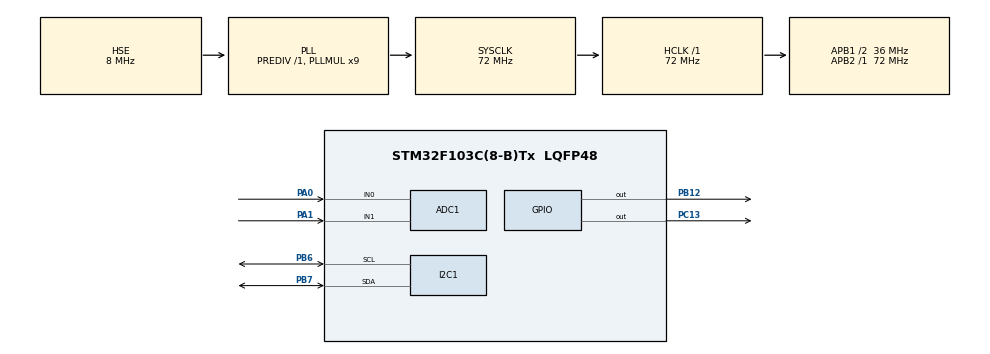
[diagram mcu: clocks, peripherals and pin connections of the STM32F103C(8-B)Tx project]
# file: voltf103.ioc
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ADC1.Channel-2\#ChannelRegularConversion=ADC_CHANNEL_0
ADC1.Channel-4\#ChannelRegularConversion=ADC_CHANNEL_1
ADC1.ExternalTrigConv=ADC_SOFTWARE_START
ADC1.NbrOfConversion=2
ADC1.NbrOfConversionFlag=1
ADC1.Rank-2\#ChannelRegularConversion=1
ADC1.Rank-4\#ChannelRegularConversion=2
ADC1.SamplingTime-2\#ChannelRegularConversion=ADC_SAMPLETIME_1CYCLE_5
ADC1.SamplingTime-4\#ChannelRegularConversion=ADC_SAMPLETIME_1CYCLE_5
ADC1.master=1
Dma.ADC1.0.Direction=DMA_PERIPH_TO_MEMORY
Dma.ADC1.0.Instance=DMA1_Channel1
Dma.ADC1.0.MemDataAlignment=DMA_MDATAALIGN_HALFWORD
Dma.ADC1.0.MemInc=DMA_MINC_ENABLE
Dma.ADC1.0.Mode=DMA_NORMAL
Dma.ADC1.0.PeriphDataAlignment=DMA_PDATAALIGN_HALFWORD
Dma.ADC1.0.PeriphInc=DMA_PINC_DISABLE
Dma.ADC1.0.Priority=DMA_PRIORITY_LOW
Dma.Request0=ADC1
I2C1.I2C_Mode=I2C_Fast
Mcu.Family=STM32F1
Mcu.Name=STM32F103C(8-B)Tx
Mcu.Package=LQFP48
NVIC.DMA1_Channel1_IRQn=true\:0\:0\:false\:false\:true\:false\:true
NVIC.PriorityGroup=NVIC_PRIORITYGROUP_4
PA0-WKUP.Signal=ADCx_IN0
PA1.Signal=ADCx_IN1
PA13.Mode=Serial_Wire
PA13.Signal=SYS_JTMS-SWDIO
PA14.Mode=Serial_Wire
PA14.Signal=SYS_JTCK-SWCLK
PB12.GPIO_PuPd=GPIO_NOPULL
PB12.PinState=GPIO_PIN_SET
PB12.Signal=GPIO_Output
PB6.Mode=I2C
PB6.Signal=I2C1_SCL
PB7.Mode=I2C
PB7.Signal=I2C1_SDA
PC13-TAMPER-RTC.PinState=GPIO_PIN_RESET
PC13-TAMPER-RTC.Signal=GPIO_Output
PD0-OSC_IN.Mode=HSE-External-Oscillator
PD0-OSC_IN.Signal=RCC_OSC_IN
PD1-OSC_OUT.Mode=HSE-External-Oscillator
PD1-OSC_OUT.Signal=RCC_OSC_OUT
ProjectManager.HeapSize=0x200
ProjectManager.StackSize=0x400
ProjectManager.TargetToolchain=STM32CubeIDE
RCC.ADCPresc=RCC_ADCPCLK2_DIV6
RCC.AHBFreq_Value=72000000
RCC.APB1CLKDivider=RCC_HCLK_DIV2
RCC.APB1Freq_Value=36000000
RCC.APB1TimFreq_Value=72000000
RCC.APB2Freq_Value=72000000
RCC.APB2TimFreq_Value=72000000
RCC.HCLKFreq_Value=72000000
RCC.PLLMUL=RCC_PLL_MUL9
RCC.PLLSourceVirtual=RCC_PLLSOURCE_HSE
RCC.SYSCLKFreq_VALUE=72000000
RCC.SYSCLKSource=RCC_SYSCLKSOURCE_PLLCLK
RCC.USBFreq_Value=72000000
SH.ADCx_IN0.0=ADC1_IN0,IN0
SH.ADCx_IN1.0=ADC1_IN1,IN1
board=custom

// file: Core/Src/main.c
/* USER CODE BEGIN Header */
/**
  ******************************************************************************
  * @file           : main.c
  * @brief          : Main program body
  ******************************************************************************
  * @attention
  *
  * <h2><center>&copy; Copyright (c) 2023 STMicroelectronics.
  * All rights reserved.</center></h2>
  *
  * This software component is licensed by ST under BSD 3-Clause license,
  * the "License"; You may not use this file except in compliance with the
  * License. You may obtain a copy of the License at:
  *                        opensource.org/licenses/BSD-3-Clause
  *
  ******************************************************************************
  */
/* USER CODE END Header */

#include "main.h"

/* USER CODE BEGIN Includes */
#include "fonts.h"
#include "ssd1306.h"
#include <stdio.h>

/* USER CODE END Includes */

ADC_HandleTypeDef hadc1;
DMA_HandleTypeDef hdma_adc1;

I2C_HandleTypeDef hi2c1;

void SystemClock_Config(void);
static void MX_GPIO_Init(void);
static void MX_DMA_Init(void);
static void MX_I2C1_Init(void);
static void MX_ADC1_Init(void);

/* USER CODE BEGIN 0 */
volatile uint16_t voltage[2] = {4018, 4017};
volatile uint8_t flag = 0;
float koef[2] = {0.003928, 0.003969};
uint8_t count = 0;

/*void us100Delay(msec)
{
	__HAL_TIM_SET_COUNTER(&htim2, 0);
	  while(__HAL_TIM_GET_COUNTER(&htim2) < msec);
}
*/
void displayvolt(float akbvoltage, float mainvoltage, uint8_t cflag)
{

	char str[20];
	sprintf (str,"bat. %1.2f V", akbvoltage);
	SSD1306_Fill(0);
	SSD1306_GotoXY(0,12);
	SSD1306_Puts(str, &Font_7x10, 1);
	SSD1306_DrawRectangle(4, 30, 110, 33, 1);
	SSD1306_DrawFilledRectangle(114, 41, 5, 11, 1);
	if (akbvoltage > 12.6f)
	{
		// 3212 3175
		SSD1306_DrawFilledRectangle(6, 32, 25, 29, 1);
	}

	if (akbvoltage > 13.05f)
	{
		SSD1306_DrawFilledRectangle(33, 32, 25, 29, 1);
	}
	if (akbvoltage > 13.5f)
	{
		SSD1306_DrawFilledRectangle(60, 32, 25, 29, 1);
	}
	if (akbvoltage > 13.95f)
	{
		SSD1306_DrawFilledRectangle(87, 32, 25, 29, 1);
	}
	if (cflag == 1)
	{
		SSD1306_DrawLine(125, 2, 110, 12, 1);
		SSD1306_DrawLine(125, 12, 110, 12, 1);
		SSD1306_DrawLine(125, 12, 110, 22, 1);
	}
	else
	{
		SSD1306_GotoXY(85, 5);
		//sprintf(str, "main %1.1f V", mainvoltage);
		SSD1306_Puts("UPS", &Font_11x18, 1);
	}
	sprintf(str, "main %1.2f V", mainvoltage);
	SSD1306_GotoXY(0,0);
	SSD1306_Puts(str, &Font_7x10, 1);

    SSD1306_UpdateScreen();

    // 15 20 125 2, 125 22, 110 22, 110 2 12
}
// main 382
// akb

uint8_t UPS(uint8_t cflag, float Volt0, float Volt1)
{
	if(cflag == 1)
	{
		if(Volt1 < 13.5f )
			count++;
		else
		{
			count = 0;
			return 1;
		}

		if (count > 3)
		{
			count = 0;
			return 0;
		}
	}
	if(cflag == 0)
		{
			if(Volt1 > 13.5f )
				count++;
			else
			{
				count = 0;
				return 0;
			}

			if (count > 3)
			{
				count = 0;
				return 1;
			}
		}

}

/*uint8_t PowerOn(float Volt1)
{

	if(Volt1 >= 14.0f )
		count++;
	else
	{
		count = 0;
		return 0;
	}

	if (count > 9)
	{
		count = 0;
		return 1;
	}

}*/
/* USER CODE END 0 */

int main(void)
{

  /* MCU Configuration--------------------------------------------------------*/

  /* Reset of all peripherals, Initializes the Flash interface and the Systick. */
  HAL_Init();

  /* Configure the system clock */
  SystemClock_Config();

  /* Initialize all configured peripherals */
  MX_GPIO_Init();
  MX_DMA_Init();
  MX_I2C1_Init();
  MX_ADC1_Init();
  /* USER CODE BEGIN 2 */
  SSD1306_Init();
  //HAL_TIM_Base_Start(&htim2);
  HAL_ADCEx_Calibration_Start(&hadc1);
   HAL_ADC_Start_DMA(&hadc1, (uint32_t*)&voltage, 2);
  /* USER CODE END 2 */

  /* Infinite loop */
  /* USER CODE BEGIN WHILE */
   float 		ON, OFF, Save;

   ON = 13.4f;
   OFF = 14.3f;
   Save = 12.1f;
   HAL_GPIO_WritePin(GPIOB, GPIO_PIN_12, GPIO_PIN_RESET);
 //  HAL_GPIO_WritePin(GPIOB, GPIO_PIN_13, GPIO_PIN_SET);
   uint8_t displayflag = 0,
		   chargeflag = 0,
		   //UPC = 0,
   	   	   AkOn = 0,
   	       AkOff = 0,
		   AkSave = 0;
   float voltf[2] = {0.0f};

  while (1)
  {

	  	  if(flag)
	  	  {

	  		  flag = 0;

			  HAL_ADC_Stop_DMA(&hadc1);

			  voltf[0] = voltage[0] * koef[0];
			  voltf[1] = voltage[1] * koef[1];

			  chargeflag = UPS(chargeflag, voltf[0], voltf[1]);

			  if(chargeflag == 0)
			  {
				  if (voltf[0] > Save)
				  {
					  HAL_GPIO_WritePin(GPIOB, GPIO_PIN_12, GPIO_PIN_SET);
					  AkSave = 0;
				  }
	/*			  if(voltf[1] >= 14.0f )
					  count++;
				  else
				  {
					  count = 0;
				  }

				  if (count > 9)
				  {
					  count = 0;
					  chargeflag = 1;
				  }*/
				  else
				  {
				  	  AkSave++;
				  }
				  if(AkSave > 8)
				  {
					  HAL_GPIO_WritePin(GPIOB, GPIO_PIN_12, GPIO_PIN_RESET);
					 AkSave = 10;
				  }

			  }
			  if (chargeflag == 1)
			  {
				  /*if(voltf[0] > voltf[1] - 1.1f || voltf[1] - volt1buff > 0.7f)
						  count++;
					  	  else
					  	  {
						  count = 0;

					  }

					  if (count > 3)
					  {
						  count = 0;
						  chargeflag = 0;
						  HAL_GPIO_WritePin(GPIOB, GPIO_PIN_12, GPIO_PIN_SET);

					  }*/

					  if(voltf[0] > OFF && voltf[1] > 14.5f)
						  AkOff++;
					  else
						  AkOff = 0;

					  if(voltf[0] < ON)
						  AkOn++;
					  else
						  AkOn = 0;

				  if(AkOn > 49)
				  {
					  HAL_GPIO_WritePin(GPIOB, GPIO_PIN_12, GPIO_PIN_SET);
					  AkOn = 0;
				  }

				  if(AkOff > 49)
				  {
					  HAL_GPIO_WritePin(GPIOB, GPIO_PIN_12, GPIO_PIN_RESET);
					  AkOff = 0;
				  }

			  }
			  if(displayflag > 9)
			  {
				  displayvolt(voltf[0], voltf[1], chargeflag);
				  displayflag = 0;
			  }
				  //something code

			  voltage[0] = 0;
	  		  voltage[1] = 0;
	  		  voltf[0] = 0;
	  		  voltf[1] = 0;
	  		  displayflag++;
			  HAL_ADC_Start_DMA(&hadc1, (uint32_t*)&voltage, 2);

			  HAL_Delay(50);

	  	  }

    /* USER CODE END WHILE */

  }
}

void SystemClock_Config(void)
{
  RCC_OscInitTypeDef RCC_OscInitStruct = {0};
  RCC_ClkInitTypeDef RCC_ClkInitStruct = {0};
  RCC_PeriphCLKInitTypeDef PeriphClkInit = {0};

  /** Initializes the CPU, AHB and APB busses clocks
  */
  RCC_OscInitStruct.OscillatorType = RCC_OSCILLATORTYPE_HSE;
  RCC_OscInitStruct.HSEState = RCC_HSE_ON;
  RCC_OscInitStruct.HSEPredivValue = RCC_HSE_PREDIV_DIV1;
  RCC_OscInitStruct.HSIState = RCC_HSI_ON;
  RCC_OscInitStruct.PLL.PLLState = RCC_PLL_ON;
  RCC_OscInitStruct.PLL.PLLSource = RCC_PLLSOURCE_HSE;
  RCC_OscInitStruct.PLL.PLLMUL = RCC_PLL_MUL9;
  if (HAL_RCC_OscConfig(&RCC_OscInitStruct) != HAL_OK)
  {
    Error_Handler();
  }
  /** Initializes the CPU, AHB and APB busses clocks
  */
  RCC_ClkInitStruct.ClockType = RCC_CLOCKTYPE_HCLK|RCC_CLOCKTYPE_SYSCLK
                              |RCC_CLOCKTYPE_PCLK1|RCC_CLOCKTYPE_PCLK2;
  RCC_ClkInitStruct.SYSCLKSource = RCC_SYSCLKSOURCE_PLLCLK;
  RCC_ClkInitStruct.AHBCLKDivider = RCC_SYSCLK_DIV1;
  RCC_ClkInitStruct.APB1CLKDivider = RCC_HCLK_DIV2;
  RCC_ClkInitStruct.APB2CLKDivider = RCC_HCLK_DIV1;

  if (HAL_RCC_ClockConfig(&RCC_ClkInitStruct, FLASH_LATENCY_2) != HAL_OK)
  {
    Error_Handler();
  }
  PeriphClkInit.PeriphClockSelection = RCC_PERIPHCLK_ADC;
  PeriphClkInit.AdcClockSelection = RCC_ADCPCLK2_DIV6;
  if (HAL_RCCEx_PeriphCLKConfig(&PeriphClkInit) != HAL_OK)
  {
    Error_Handler();
  }
}

static void MX_ADC1_Init(void)
{

  ADC_ChannelConfTypeDef sConfig = {0};

  /** Common config
  */
  hadc1.Instance = ADC1;
  hadc1.Init.ScanConvMode = ADC_SCAN_ENABLE;
  hadc1.Init.ContinuousConvMode = DISABLE;
  hadc1.Init.DiscontinuousConvMode = DISABLE;
  hadc1.Init.ExternalTrigConv = ADC_SOFTWARE_START;
  hadc1.Init.DataAlign = ADC_DATAALIGN_RIGHT;
  hadc1.Init.NbrOfConversion = 2;
  if (HAL_ADC_Init(&hadc1) != HAL_OK)
  {
    Error_Handler();
  }
  /** Configure Regular Channel
  */
  sConfig.Channel = ADC_CHANNEL_0;
  sConfig.Rank = ADC_REGULAR_RANK_1;
  sConfig.SamplingTime = ADC_SAMPLETIME_1CYCLE_5;
  if (HAL_ADC_ConfigChannel(&hadc1, &sConfig) != HAL_OK)
  {
    Error_Handler();
  }
  /** Configure Regular Channel
  */
  sConfig.Channel = ADC_CHANNEL_1;
  sConfig.Rank = ADC_REGULAR_RANK_2;
  if (HAL_ADC_ConfigChannel(&hadc1, &sConfig) != HAL_OK)
  {
    Error_Handler();
  }

}

static void MX_I2C1_Init(void)
{

  hi2c1.Instance = I2C1;
  hi2c1.Init.ClockSpeed = 400000;
  hi2c1.Init.DutyCycle = I2C_DUTYCYCLE_2;
  hi2c1.Init.OwnAddress1 = 0;
  hi2c1.Init.AddressingMode = I2C_ADDRESSINGMODE_7BIT;
  hi2c1.Init.DualAddressMode = I2C_DUALADDRESS_DISABLE;
  hi2c1.Init.OwnAddress2 = 0;
  hi2c1.Init.GeneralCallMode = I2C_GENERALCALL_DISABLE;
  hi2c1.Init.NoStretchMode = I2C_NOSTRETCH_DISABLE;
  if (HAL_I2C_Init(&hi2c1) != HAL_OK)
  {
    Error_Handler();
  }

}

static void MX_DMA_Init(void)
{

  /* DMA controller clock enable */
  __HAL_RCC_DMA1_CLK_ENABLE();

  /* DMA interrupt init */
  /* DMA1_Channel1_IRQn interrupt configuration */
  HAL_NVIC_SetPriority(DMA1_Channel1_IRQn, 0, 0);
  HAL_NVIC_EnableIRQ(DMA1_Channel1_IRQn);

}

static void MX_GPIO_Init(void)
{
  GPIO_InitTypeDef GPIO_InitStruct = {0};

  /* GPIO Ports Clock Enable */
  __HAL_RCC_GPIOC_CLK_ENABLE();
  __HAL_RCC_GPIOD_CLK_ENABLE();
  __HAL_RCC_GPIOA_CLK_ENABLE();
  __HAL_RCC_GPIOB_CLK_ENABLE();

  /*Configure GPIO pin Output Level */
  HAL_GPIO_WritePin(GPIOC, GPIO_PIN_13, GPIO_PIN_RESET);

  /*Configure GPIO pin Output Level */
  HAL_GPIO_WritePin(GPIOB, GPIO_PIN_12, GPIO_PIN_SET);

  /*Configure GPIO pin : PC13 */
  GPIO_InitStruct.Pin = GPIO_PIN_13;
  GPIO_InitStruct.Mode = GPIO_MODE_OUTPUT_PP;
  GPIO_InitStruct.Pull = GPIO_NOPULL;
  GPIO_InitStruct.Speed = GPIO_SPEED_FREQ_LOW;
  HAL_GPIO_Init(GPIOC, &GPIO_InitStruct);

  /*Configure GPIO pin : PB12 */
  GPIO_InitStruct.Pin = GPIO_PIN_12;
  GPIO_InitStruct.Mode = GPIO_MODE_OUTPUT_PP;
  GPIO_InitStruct.Pull = GPIO_NOPULL;
  GPIO_InitStruct.Speed = GPIO_SPEED_FREQ_LOW;
  HAL_GPIO_Init(GPIOB, &GPIO_InitStruct);

}

/* USER CODE BEGIN 4 */

void HAL_ADC_ConvCpltCallback(ADC_HandleTypeDef* hadc)
{
	if(hadc->Instance == ADC1)
		flag = 1;
}
/* USER CODE END 4 */

void Error_Handler(void)
{
}

/************************ (C) COPYRIGHT STMicroelectronics *****END OF FILE****/
